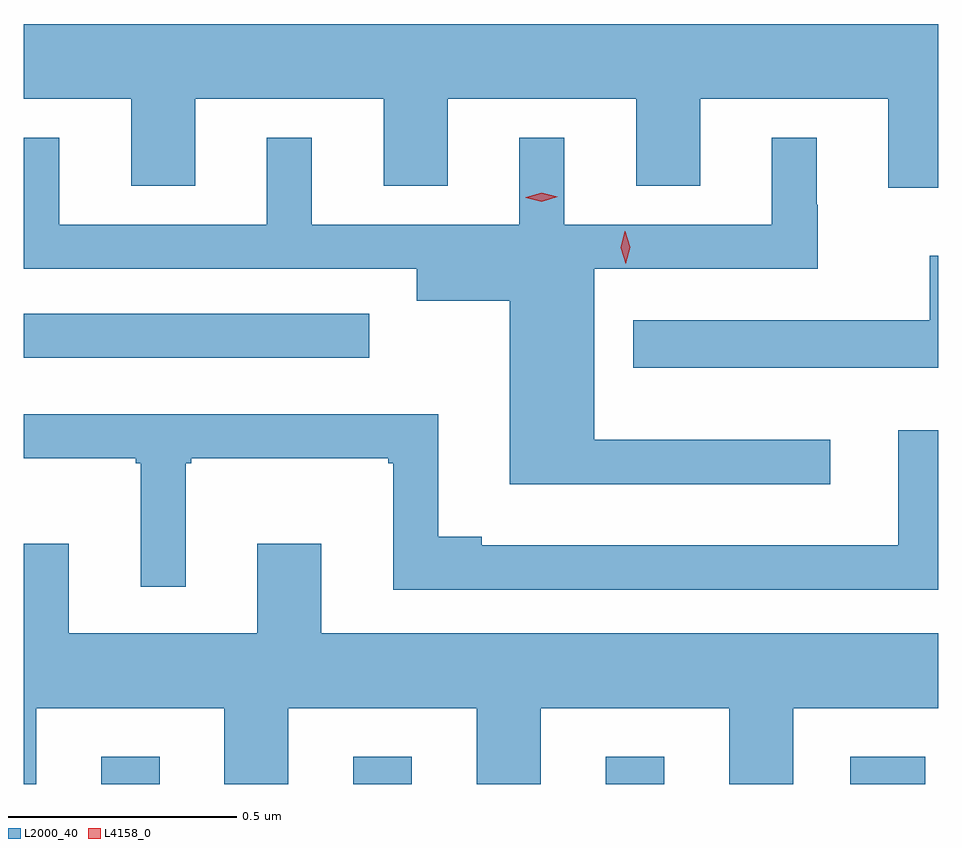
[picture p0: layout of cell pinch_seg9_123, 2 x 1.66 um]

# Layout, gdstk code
import gdstk
lib = gdstk.Library(unit=1e-6, precision=1e-09)
def R(c, l, rs):  # rectangles x0, y0, x1, y1
    for r in rs: c.add(gdstk.rectangle(r[:2], r[2:], *l))
def A(c, l, x, y, w, h, nx, ny, dx, dy):  # array of equal rectangles
    R(c, l, [(x+i*dx, y+j*dy, x+i*dx+w, y+j*dy+h) for i in range(nx) for j in range(ny)])
def P(c, l, *ps):  # polygons
    for p in ps: c.add(gdstk.Polygon(p, *l))
L2000_40 = (2000, 40)
L4158_0 = (4158, 0)

pinch_seg9_123 = lib.new_cell('pinch_seg9_123')
A(pinch_seg9_123, L2000_40, 827.081, 1233.55, 0.128, 0.06, 3, 1, 0.552, 0)
R(pinch_seg9_123, L2000_40, [(828.719,1233.55,828.883,1233.61), (826.912,1234.482,827.668,1234.578)])
P(pinch_seg9_123, L2000_40, [(828.912,1235.212),(826.912,1235.212),(826.912,1235.048),(827.147,1235.048),(827.147,1234.858),(827.287,1234.858),(827.287,1235.048),(827.699,1235.048),(827.699,1234.858),(827.839,1234.858),(827.839,1235.048),(828.251,1235.048),(828.251,1234.858),(828.391,1234.858),(828.391,1235.048),(828.803,1235.048),(828.803,1234.854),(828.912,1234.854)],
  [(828.676,1234.303),(828.16,1234.303),(828.16,1234.677),(828.648,1234.677),(828.648,1234.817),(828.646,1234.817),(828.646,1234.963),(828.548,1234.963),(828.548,1234.773),(828.094,1234.773),(828.094,1234.963),(827.996,1234.963),(827.996,1234.773),(827.542,1234.773),(827.542,1234.963),(827.444,1234.963),(827.444,1234.773),(826.99,1234.773),(826.99,1234.963),(826.912,1234.963),(826.912,1234.677),(827.771,1234.677),(827.771,1234.607),(827.975,1234.607),(827.975,1234.205),(828.676,1234.205)],
  [(828.912,1234.705),(828.893,1234.705),(828.893,1234.564),(828.245,1234.564),(828.245,1234.46),(828.912,1234.46)],
  [(828.912,1234.324),(828.824,1234.324),(828.824,1234.072),(827.914,1234.072),(827.914,1234.091),(827.818,1234.091),(827.818,1234.359),(826.912,1234.359),(826.912,1234.262),(827.157,1234.262),(827.157,1234.251),(827.168,1234.251),(827.168,1233.981),(827.266,1233.981),(827.266,1234.251),(827.278,1234.251),(827.278,1234.262),(827.709,1234.262),(827.709,1234.251),(827.72,1234.251),(827.72,1233.975),(828.912,1233.975)],
  [(827.351,1233.55),(827.491,1233.55),(827.491,1233.716),(827.903,1233.716),(827.903,1233.55),(828.043,1233.55),(828.043,1233.716),(828.455,1233.716),(828.455,1233.55),(828.595,1233.55),(828.595,1233.716),(828.912,1233.716),(828.912,1233.88),(827.563,1233.88),(827.563,1234.075),(827.423,1234.075),(827.423,1233.88),(827.011,1233.88),(827.011,1234.075),(826.912,1234.075),(826.912,1233.55),(826.939,1233.55),(826.939,1233.716),(827.351,1233.716)])
P(pinch_seg9_123, L4158_0, [(828.229,1234.688),(828.229,1234.688),(828.218,1234.723),(828.226,1234.759),(828.226,1234.759),(828.227,1234.759),(828.238,1234.724),(828.229,1234.688)],
  [(828.045,1234.823),(828.01,1234.832),(828.01,1234.832),(828.01,1234.833),(828.045,1234.843),(828.08,1234.834),(828.08,1234.834),(828.08,1234.834)])

lib.write_gds('pinch_seg9_123.gds')
